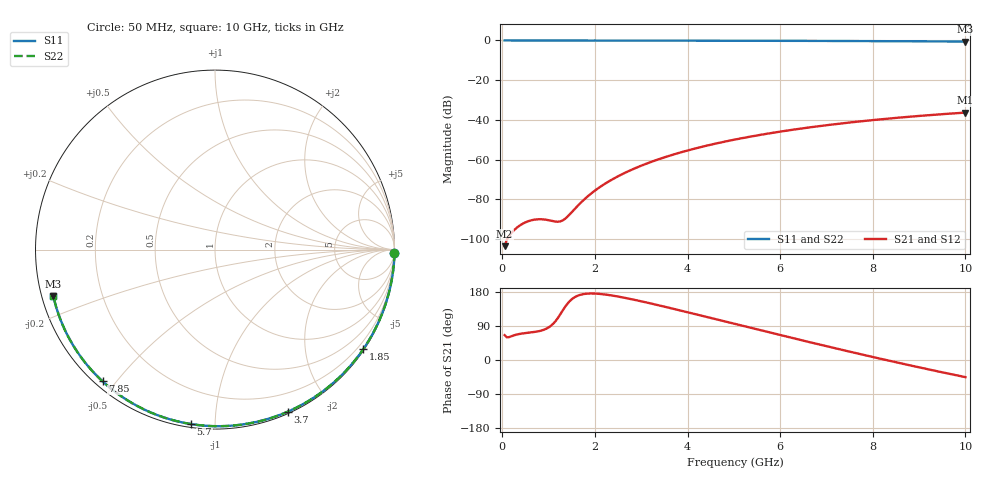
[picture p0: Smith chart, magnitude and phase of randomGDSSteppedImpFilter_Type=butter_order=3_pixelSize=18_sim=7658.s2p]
! freq	dB(S11)	phase(S11)	dB(S12)	phase(S12)
!  dB(S21)	phase(S21)	dB(S22)	phase(S22)
!S-par simulation data
#  GHz  S  DB  R 50
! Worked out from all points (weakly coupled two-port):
!   200 points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, 50 MHz to 10 GHz, reference 50 ohm
!   highest |S21| = -36.29 dB at 10 GHz (marker M1); lowest = -103.5 dB at 50 MHz (marker M2)
!   lowest |S11| = -0.6 dB at 10 GHz (marker M3), VSWR 30.90, Z = 1.65 - j7.03 ohm
!   |S11| at or under -10 dB: nowhere
!   |S22| runs from -0.6 to 0.0 dB; largest |S21 - S12| = 0
!   S11 on the Smith chart (normalised r, x): 50 MHz: open; 1.85 GHz: 0.03, -3.30; 3.7 GHz: 0.02, -1.55; 5.7 GHz: 0.02, -0.87; 7.85 GHz: 0.02, -0.46; 10 GHz: 0.03, -0.14
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0.05  -0.00 -0.9  -103.51 65.7  -103.51 65.7  -0.00 -0.9
0.45  -0.01 -8.3  -92.10 70.2  -92.10 70.2  -0.01 -8.3
0.85  -0.02 -15.7  -89.98 77.9  -89.98 77.9  -0.02 -15.7
1.3  -0.03 -23.9  -90.60 129.7  -90.60 129.7  -0.03 -23.9
1.75  -0.04 -32.0  -80.41 173.8  -80.41 173.8  -0.04 -32.0
1.8  -0.04 -32.9  -79.35 174.7  -79.35 174.7  -0.04 -32.9
1.85  -0.04 -33.8  -78.34 175.2  -78.34 175.2  -0.04 -33.8
2.15  -0.05 -39.1  -73.11 173.9  -73.11 173.9  -0.05 -39.1
2.5  -0.06 -45.2  -68.33 167.4  -68.33 167.4  -0.06 -45.2
2.9  -0.07 -52.2  -63.97 157.6  -63.97 157.6  -0.07 -52.2
3.4  -0.08 -60.7  -59.59 143.7  -59.59 143.7  -0.08 -60.7
3.7  -0.09 -65.7  -57.36 134.9  -57.36 134.9  -0.09 -65.7
4.35  -0.11 -76.4  -53.29 115.5  -53.29 115.5  -0.11 -76.4
5.05  -0.14 -87.7  -49.74 94.3  -49.74 94.3  -0.14 -87.7
5.7  -0.16 -97.9  -47.00 74.8  -47.00 74.8  -0.16 -97.8
6.2  -0.19 -105.5  -45.17 59.9  -45.17 59.9  -0.19 -105.5
6.7  -0.22 -113.1  -43.54 45.2  -43.54 45.2  -0.22 -113.1
7.25  -0.26 -121.4  -41.95 29.3  -41.95 29.3  -0.26 -121.4
7.85  -0.31 -130.5  -40.42 12.2  -40.42 12.2  -0.31 -130.5
8.35  -0.36 -138.0  -39.29 -1.8  -39.29 -1.8  -0.36 -138.0
9.2  -0.45 -151.1  -37.62 -24.7  -37.62 -24.7  -0.45 -151.1
10  -0.56 -164.0  -36.29 -45.2  -36.29 -45.2  -0.56 -164.0
